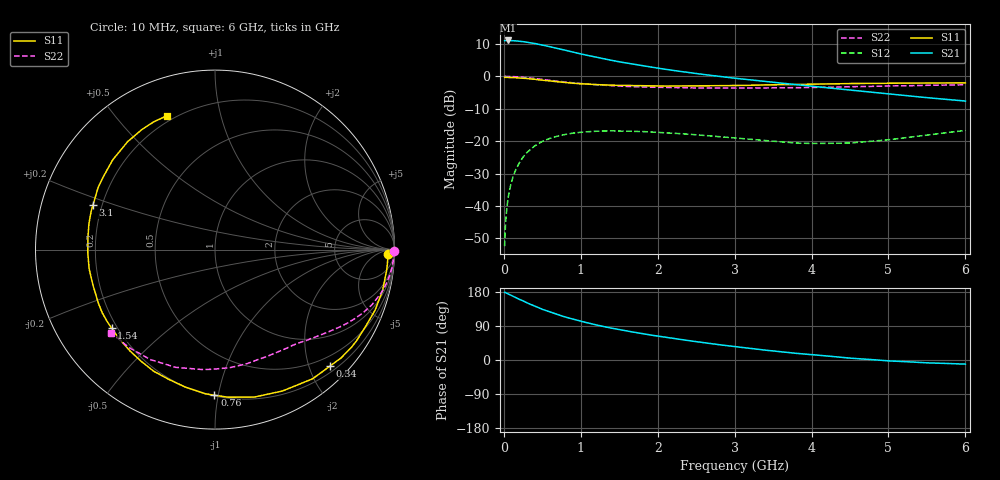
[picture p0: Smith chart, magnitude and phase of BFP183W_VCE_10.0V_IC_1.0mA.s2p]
! Infineon Technologies  Discrete & RF Semiconductors
! BFP183W
! VCE = 10.0V,  IC =  1.0 mA
! Common Emitter S-Parameters:  Jan 2016
# GHz  S  MA  R  50
!  f  S11  S21  S12  S22
! GHz  MAG  ANG  MAG  ANG  MAG  ANG  MAG  ANG
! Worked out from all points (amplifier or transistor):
!   210 points, 10 MHz to 6 GHz, reference 50 ohm
!   highest |S21| = 11.1 dB at 50 MHz (marker M1)
!   |S21| within 3 dB of that: start of sweep to 793 MHz
!   unconditionally stable (mu >= 1): 2.811 GHz to end of sweep
!   at 185 MHz: K = 0.08, MSG = 19.1 dB, |S12| = -27.4 dB
!   at 1.52 GHz: K = 0.53, MSG = 10.6 dB, |S12| = -16.9 dB
!   at 6 GHz: K = 1.09, MAG = 2.7 dB, |S12| = -16.7 dB
!   S11 on the Smith chart (normalised r, x): 10 MHz: 38, -25; 340 MHz: 0.31, -2.35; 760 MHz: 0.21, -0.98; 1.54 GHz: 0.18, -0.33; 3.1 GHz: 0.17, +0.17; 6 GHz: 0.17, +0.69
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0.01  0.9642 -1.4  3.539 178.3  0.0024 89.8  0.9981 -0.5
0.015  0.9639 -2.1  3.552 178.2  0.0036 87.3  0.9968 -0.8
0.025  0.964 -3.5  3.567 177.6  0.0059 87.8  0.9961 -1.4
0.05  0.9634 -6.9  3.572 175.2  0.012 86.1  0.9966 -2.7
0.09  0.9604 -12.4  3.549 171.2  0.0213 82.4  0.9936 -4.7
0.15  0.9537 -20.7  3.528 165.2  0.0351 76.9  0.9857 -7.8
0.24  0.9381 -32.9  3.442 156.8  0.0546 69.8  0.9683 -12.3
0.34  0.9115 -45.5  3.288 147.6  0.0735 61.7  0.9424 -16.8
0.4  0.9023 -52.9  3.212 142.3  0.0842 57.8  0.9267 -19.4
0.5  0.8729 -64.5  3.038 133.8  0.0991 51.4  0.8973 -23.1
0.6  0.8503 -75.1  2.866 126.6  0.1106 45.3  0.8668 -26.5
0.76  0.8112 -90.2  2.586 115.9  0.1243 37.1  0.8245 -31.1
0.9  0.7832 -102.4  2.371 107.5  0.1332 30.9  0.7918 -34.6
1.02  0.7646 -111.2  2.186 101.4  0.1378 26.1  0.7693 -37.3
1.3  0.7373 -129.8  1.861 88.2  0.1435 17.4  0.7278 -43.0
1.54  0.7235 -142.7  1.643 78.9  0.1429 11.7  0.7024 -47.4
2.02  0.7077 -164.5  1.326 62.4  0.1367 3.8  0.674 -55.9
2.4  0.7091 -178.7  1.145 51.1  0.128 -0.4  0.6634 -63.0
3.1  0.7236 160.0  0.909 33.1  0.1095 -1.7  0.6595 -76.5
4.1  0.7595 136.7  0.685 12.4  0.0922 11.8  0.6736 -98.9
5.1  0.7838 120.2  0.522 -3.2  0.1086 30.1  0.7117 -122.7
6  0.7925 109.7  0.415 -10.9  0.1463 36.0  0.7406 -141.4
